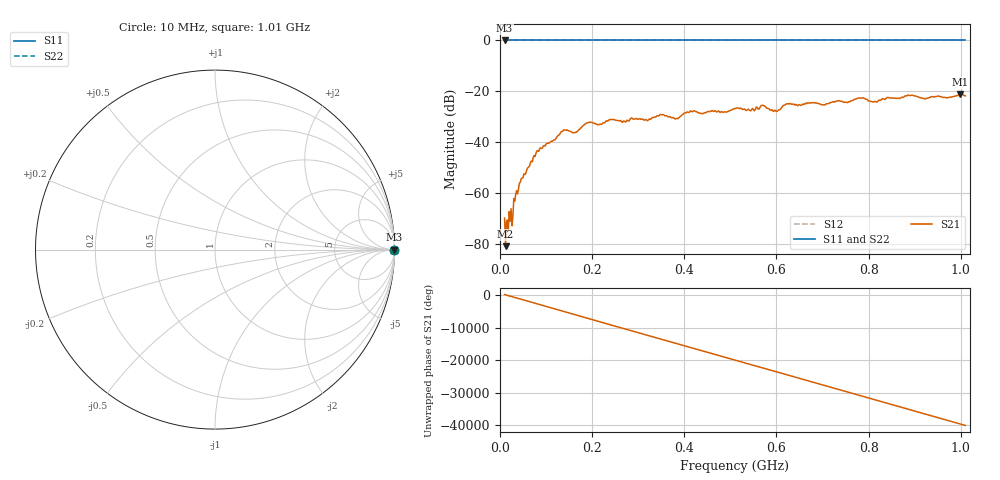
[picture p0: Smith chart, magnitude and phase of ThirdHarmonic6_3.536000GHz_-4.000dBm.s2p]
! 8/17/2025 11:38:00 AM
! C:\ANRITSUVNA\TEMP\TEMP.S2P
! CHANNEL.1
! TR.MEASUREMENT
! RAW.DATA
! RF.CORRECTION.OFF
! AVERAGING.OFF
! IF.BANDWIDTH: 5KHZ
! SWEEPTYPE:  FREQ.SWEEP(Linear)
! Reference Plane Port Info
! PORT:  PORT1  PORT2
! DISTANCE:  0  m  0  m
! TIME:  0  s  0  s
! PHASE.OFFSET:  0  deg.  0  deg.
! LOSS:  0  dB  0  dB
! REF.LOSS:  0  dB  0  dB
! REF.FREQ:  0  Hz  0  Hz
! Power Info
! POWER:  -20  dBm  -20  dBm
! EFF.POWER:  -20  dBm  -20  dBm
! SOURCE.ATTEN:  0  dB  0  dB
! TEST.ATTEN:  0  dB  0  dB
# GHZ S RI R 50.0
! FREQ.GHZ  S11RE  S11IM  S21RE  S21IM  S12RE  S12IM  S22RE  S22IM
!; PortSelection: Port_12
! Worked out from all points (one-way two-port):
!   501 points, 10 MHz to 1.01 GHz, reference 50 ohm
!   highest |S21| = -21.14 dB at 998 MHz (marker M1); lowest = -80.7 dB at 12 MHz (marker M2)
!   lowest |S11| = 0.0 dB at 10 MHz (marker M3)
!   |S11| at or under -10 dB: nowhere
!   |S22| runs from 0.0 to 0.0 dB; largest |S21 - S12| = 1.1
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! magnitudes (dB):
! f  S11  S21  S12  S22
! 10 MHz  0.0  -69.7  0.0  0.0
! 12 MHz  0.0  -80.7  0.0  0.0
! 14 MHz  0.0  -71.2  0.0  0.0
! 22 MHz  0.0  -70.9  0.0  0.0
! 30 MHz  0.0  -62.1  0.0  0.0
! 34 MHz  0.0  -60.5  0.0  0.0
! 46 MHz  0.0  -54.2  0.0  0.0
! 82 MHz  0.0  -43.3  0.0  0.0
! 136 MHz  0.0  -35.7  0.0  0.0
! 162 MHz  0.0  -36.2  0.0  0.0
! 178 MHz  0.0  -33.9  0.0  0.0
! 344 MHz  0.0  -29.7  0.0  0.0
! 384 MHz  0.0  -30.6  0.0  0.0
! 416 MHz  0.0  -27.9  0.0  0.0
! 510 MHz  0.0  -26.7  0.0  0.0
! 570 MHz  0.0  -25.5  0.0  0.0
! 598 MHz  0.0  -27.5  0.0  0.0
! 624 MHz  0.0  -24.8  0.0  0.0
! 678 MHz  0.0  -24.4  0.0  0.0
! 844 MHz  0.0  -22.5  0.0  0.0
! 998 MHz  0.0  -21.1  0.0  0.0
! 1.01 GHz  0.0  -21.7  0.0  0.0
